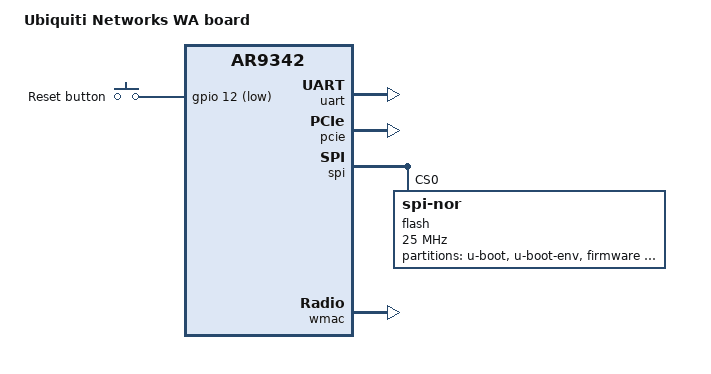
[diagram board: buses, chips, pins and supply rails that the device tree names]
// SPDX-License-Identifier: GPL-2.0-only

#include "ar9344.dtsi"

#include <dt-bindings/gpio/gpio.h>
#include <dt-bindings/input/input.h>

/ {
	compatible = "ubnt,wa", "qca,ar9342";
	model = "Ubiquiti Networks WA board";

	keys {
		compatible = "gpio-keys";

		reset {
			label = "Reset button";
			linux,code = <KEY_RESTART>;
			gpios = <&gpio 12 GPIO_ACTIVE_LOW>;
			debounce-interval = <60>;
		};
	};
};

&ref {
	clock-frequency = <40000000>;
};

&uart {
	status = "okay";
};

&pcie {
	status = "okay";
};

&spi {
	status = "okay";
	num-cs = <1>;

	flash@0 {
		compatible = "jedec,spi-nor";
		reg = <0>;
		spi-max-frequency = <25000000>;

		partitions {
			compatible = "fixed-partitions";
			#address-cells = <1>;
			#size-cells = <1>;

			partition@0 {
				label = "u-boot";
				reg = <0x000000 0x040000>;
				read-only;
			};

			partition@40000 {
				label = "u-boot-env";
				reg = <0x040000 0x010000>;
				read-only;
			};

			partition@50000 {
				compatible = "denx,uimage";
				label = "firmware";
				reg = <0x050000 0xf60000>;
			};

			partition@fb0000 {
				label = "cfg";
				reg = <0xfb0000 0x040000>;
				read-only;
			};

			art: partition@ff0000 {
				label = "art";
				reg = <0xff0000 0x010000>;
				read-only;
			};
		};
	};
};

&wmac {
	status = "okay";

	qca,disable-5ghz;
	mtd-cal-data = <&art 0x1000>;
};
